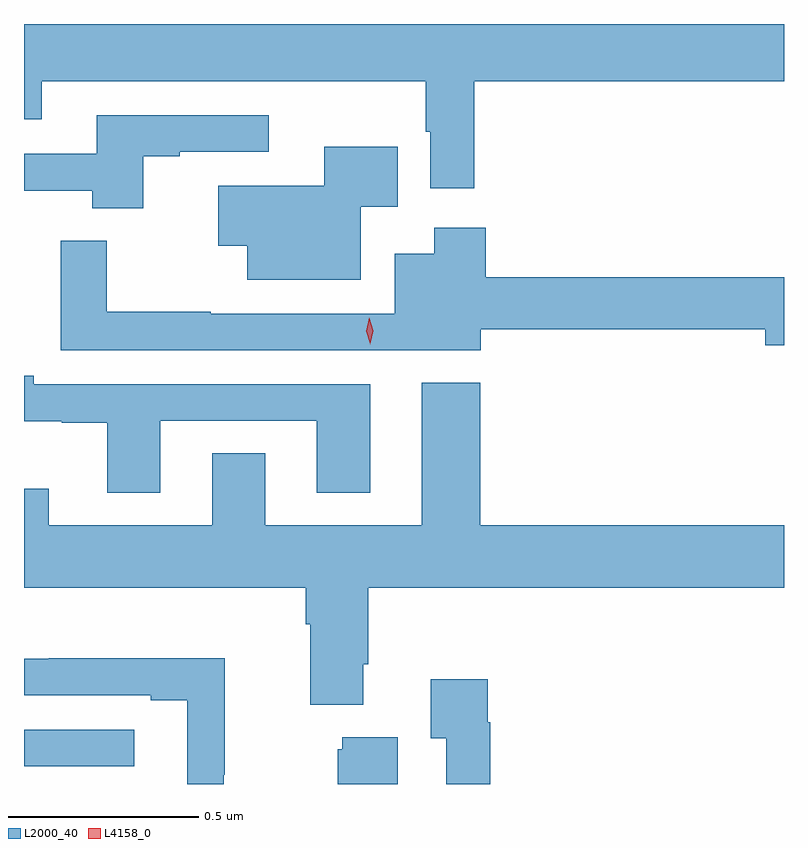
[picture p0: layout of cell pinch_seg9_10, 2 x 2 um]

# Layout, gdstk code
import gdstk
lib = gdstk.Library(unit=1e-6, precision=1e-09)
def R(c, l, rs):  # rectangles x0, y0, x1, y1
    for r in rs: c.add(gdstk.rectangle(r[:2], r[2:], *l))
def P(c, l, *ps):  # polygons
    for p in ps: c.add(gdstk.Polygon(p, *l))
L2000_40 = (2000, 40)
L4158_0 = (4158, 0)

pinch_seg9_10 = lib.new_cell('pinch_seg9_10')
R(pinch_seg9_10, L2000_40, [(1035.854,1243.902,1036.144,1243.998)])
P(pinch_seg9_10, L2000_40, [(1037.039,1245.704),(1037.854,1245.704),(1037.854,1245.855),(1035.854,1245.855),(1035.854,1245.605),(1035.901,1245.605),(1035.901,1245.704),(1036.911,1245.704),(1036.911,1245.572),(1036.923,1245.572),(1036.923,1245.423),(1037.039,1245.423)],
  [(1036.168,1245.507),(1036.264,1245.507),(1036.264,1245.519),(1036.498,1245.519),(1036.498,1245.615),(1036.046,1245.615),(1036.046,1245.513),(1035.854,1245.513),(1035.854,1245.416),(1036.034,1245.416),(1036.034,1245.37),(1036.168,1245.37)],
  [(1036.74,1245.374),(1036.838,1245.374),(1036.838,1245.532),(1036.644,1245.532),(1036.644,1245.43),(1036.365,1245.43),(1036.365,1245.272),(1036.442,1245.272),(1036.442,1245.182),(1036.74,1245.182)],
  [(1037.056,1245.052),(1037.804,1245.052),(1037.804,1245.01),(1037.854,1245.01),(1037.854,1245.188),(1037.069,1245.188),(1037.069,1245.319),(1036.934,1245.319),(1036.934,1245.25),(1036.829,1245.25),(1036.829,1245.093),(1036.346,1245.093),(1036.346,1245.098),(1036.072,1245.098),(1036.072,1245.285),(1035.951,1245.285),(1035.951,1244.997),(1037.056,1244.997)],
  [(1036.213,1244.811),(1036.625,1244.811),(1036.625,1244.622),(1036.765,1244.622),(1036.765,1244.907),(1035.88,1244.907),(1035.88,1244.929),(1035.854,1244.929),(1035.854,1244.81),(1035.953,1244.81),(1035.953,1244.806),(1036.073,1244.806),(1036.073,1244.622),(1036.213,1244.622)],
  [(1036.747,1244.17),(1036.76,1244.17),(1036.76,1244.372),(1037.854,1244.372),(1037.854,1244.536),(1037.054,1244.536),(1037.054,1244.911),(1036.901,1244.911),(1036.901,1244.536),(1036.489,1244.536),(1036.489,1244.726),(1036.349,1244.726),(1036.349,1244.536),(1035.919,1244.536),(1035.919,1244.632),(1035.854,1244.632),(1035.854,1244.372),(1036.595,1244.372),(1036.595,1244.276),(1036.607,1244.276),(1036.607,1244.063),(1036.747,1244.063)],
  [(1036.38,1243.879),(1036.382,1243.879),(1036.382,1244.186),(1035.919,1244.186),(1035.919,1244.184),(1035.854,1244.184),(1035.854,1244.088),(1036.187,1244.088),(1036.187,1244.076),(1036.284,1244.076),(1036.284,1243.855),(1036.38,1243.855)],
  [(1037.081,1244.018),(1037.074,1244.018),(1037.074,1244.131),(1036.925,1244.131),(1036.925,1243.975),(1036.965,1243.975),(1036.965,1243.855),(1037.081,1243.855)],
  [(1036.837,1243.978),(1036.691,1243.978),(1036.691,1243.947),(1036.679,1243.947),(1036.679,1243.855),(1036.837,1243.855)])
P(pinch_seg9_10, L4158_0, [(1036.765,1245.012),(1036.765,1245.013),(1036.754,1245.047),(1036.762,1245.082),(1036.762,1245.082),(1036.762,1245.082),(1036.773,1245.048),(1036.765,1245.013)])

lib.write_gds('pinch_seg9_10.gds')
